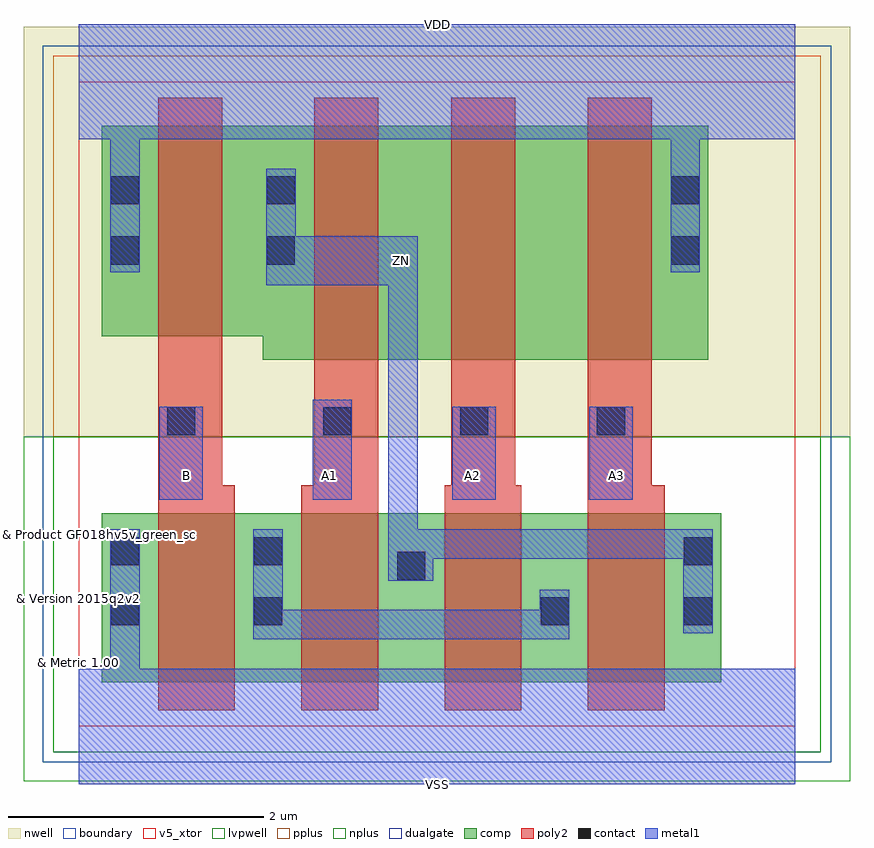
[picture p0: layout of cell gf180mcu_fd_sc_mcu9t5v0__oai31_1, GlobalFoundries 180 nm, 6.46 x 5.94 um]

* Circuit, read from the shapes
.subckt gf180mcu_fd_sc_mcu9t5v0__oai31_1 A1 A2 A3 B VDD VSS ZN
XM1 n1 B VSS VSUBS nfet_05v0 w=1.32u l=0.6u
XM2 ZN A1 n1 VSUBS nfet_05v0 w=1.32u l=0.6u
XM3 n1 A2 ZN VSUBS nfet_05v0 w=1.32u l=0.6u
XM4 ZN A3 n1 VSUBS nfet_05v0 w=1.32u l=0.6u
XM5 ZN B VDD n2 pfet_05v0 w=1.645u l=0.5u
XM6 n3 A1 ZN n2 pfet_05v0 w=1.83u l=0.5u
XM7 n4 A2 n3 n2 pfet_05v0 w=1.83u l=0.5u
XM8 VDD A3 n4 n2 pfet_05v0 w=1.83u l=0.5u
.ends

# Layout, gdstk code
import gdstk
lib = gdstk.Library(unit=1e-6, precision=1e-09)
def R(c, l, rs):  # rectangles x0, y0, x1, y1
    for r in rs: c.add(gdstk.rectangle(r[:2], r[2:], *l))
def A(c, l, x, y, w, h, nx, ny, dx, dy):  # array of equal rectangles
    R(c, l, [(x+i*dx, y+j*dy, x+i*dx+w, y+j*dy+h) for i in range(nx) for j in range(ny)])
def P(c, l, *ps):  # polygons
    for p in ps: c.add(gdstk.Polygon(p, *l))
boundary = (0, 0)
nwell = (21, 0)
comp = (22, 0)
poly2 = (30, 0)
pplus = (31, 0)
nplus = (32, 0)
contact = (33, 0)
metal1 = (34, 0)
dualgate = (55, 0)
v5_xtor = (112, 1)
lvpwell = (204, 0)

gf180mcu_fd_sc_mcu9t5v0_ = lib.new_cell('gf180mcu_fd_sc_mcu9t5v0__oai31_1')
R(gf180mcu_fd_sc_mcu9t5v0_, boundary, [(0,0,5.6,5.04)])
R(gf180mcu_fd_sc_mcu9t5v0_, nwell, [(-0.43,2.265,6.03,5.47)])
R(gf180mcu_fd_sc_mcu9t5v0_, comp, [(0.18,0.345,5.02,1.665)])
P(gf180mcu_fd_sc_mcu9t5v0_, comp, [(1.44,2.865),(1.44,3.05),(0.18,3.05),(0.18,4.695),(4.92,4.695),(4.92,2.865)])
P(gf180mcu_fd_sc_mcu9t5v0_, poly2, [(0.62,0.125),(0.62,4.915),(1.12,4.915),(1.12,1.885),(1.22,1.885),(1.22,0.125)],
  [(1.74,0.125),(1.74,1.885),(1.84,1.885),(1.84,4.915),(2.34,4.915),(2.34,0.125)],
  [(2.86,0.125),(2.86,1.885),(2.91,1.885),(2.91,4.915),(3.41,4.915),(3.41,1.885),(3.46,1.885),(3.46,0.125)],
  [(3.98,0.125),(3.98,4.915),(4.48,4.915),(4.48,1.885),(4.58,1.885),(4.58,0.125)])
R(gf180mcu_fd_sc_mcu9t5v0_, pplus, [(-0.2,2.265,5.8,5.24)])
R(gf180mcu_fd_sc_mcu9t5v0_, nplus, [(-0.2,-0.2,5.8,2.265)])
A(gf180mcu_fd_sc_mcu9t5v0_, contact, 1.91, 2.275, 0.22, 0.22, 3, 1, 1.07, 0)
R(gf180mcu_fd_sc_mcu9t5v0_, contact, [(0.25,0.79,0.47,1.01), (1.37,0.79,1.59,1.01), (3.61,0.79,3.83,1.01), (4.73,0.79,4.95,1.01), (2.49,1.145,2.71,1.365), (0.25,1.26,0.47,1.48), (1.37,1.26,1.59,1.48), (4.73,1.26,4.95,1.48), (0.69,2.275,0.91,2.495), (0.25,3.61,0.47,3.83), (1.47,3.61,1.69,3.83), (4.63,3.61,4.85,3.83), (0.25,4.08,0.47,4.3), (1.47,4.08,1.69,4.3), (4.63,4.08,4.85,4.3)])
R(gf180mcu_fd_sc_mcu9t5v0_, metal1, [(0.63,1.77,0.97,2.5), (1.83,1.77,2.135,2.555), (2.92,1.77,3.26,2.5), (3.99,1.77,4.33,2.5)])
P(gf180mcu_fd_sc_mcu9t5v0_, metal1, [(1.365,0.68),(1.365,1.54),(1.595,1.54),(1.595,0.91),(3.605,0.91),(3.605,1.07),(3.835,1.07),(3.835,0.68)],
  [(4.725,0.73),(4.725,1.31),(2.77,1.31),(2.77,1.14),(2.42,1.14),(2.42,3.45),(1.465,3.45),(1.465,4.36),(1.695,4.36),(1.695,3.83),(2.65,3.83),(2.65,1.54),(4.955,1.54),(4.955,0.73)],
  [(0,-0.45),(0,0.45),(0.245,0.45),(0.245,1.54),(0.475,1.54),(0.475,0.45),(5.6,0.45),(5.6,-0.45)],
  [(0.245,3.55),(0.245,4.59),(0,4.59),(0,5.49),(5.6,5.49),(5.6,4.59),(4.855,4.59),(4.855,3.55),(4.625,3.55),(4.625,4.59),(0.475,4.59),(0.475,3.55)])
R(gf180mcu_fd_sc_mcu9t5v0_, dualgate, [(-0.28,-0.28,5.88,5.32)])
R(gf180mcu_fd_sc_mcu9t5v0_, v5_xtor, [(0,0,5.6,5.04)])
R(gf180mcu_fd_sc_mcu9t5v0_, lvpwell, [(-0.43,-0.43,6.03,2.265)])
gf180mcu_fd_sc_mcu9t5v0_.add(gdstk.Label('A1', (1.96,1.96), layer=34, texttype=10))
gf180mcu_fd_sc_mcu9t5v0_.add(gdstk.Label('A2', (3.08,1.96), layer=34, texttype=10))
gf180mcu_fd_sc_mcu9t5v0_.add(gdstk.Label('A3', (4.2,1.96), layer=34, texttype=10))
gf180mcu_fd_sc_mcu9t5v0_.add(gdstk.Label('B', (0.84,1.96), layer=34, texttype=10))
gf180mcu_fd_sc_mcu9t5v0_.add(gdstk.Label('VDD', (2.8,5.49), layer=34, texttype=10))
gf180mcu_fd_sc_mcu9t5v0_.add(gdstk.Label('VSS', (2.8,-0.45), layer=34, texttype=10))
gf180mcu_fd_sc_mcu9t5v0_.add(gdstk.Label('ZN', (2.52,3.64), layer=34, texttype=10))
gf180mcu_fd_sc_mcu9t5v0_.add(gdstk.Label('& Vendor GLOBALFOUNDRIES', (0,2), layer=63, texttype=63))
gf180mcu_fd_sc_mcu9t5v0_.add(gdstk.Label('& Product GF018hv5v_green_sc9', (0,1.5), layer=63, texttype=63))
gf180mcu_fd_sc_mcu9t5v0_.add(gdstk.Label('& Version 2015q2v2', (0,1), layer=63, texttype=63))
gf180mcu_fd_sc_mcu9t5v0_.add(gdstk.Label('& Metric 1.00', (0,0.5), layer=63, texttype=63))

lib.write_gds('gf180mcu_fd_sc_mcu9t5v0__oai31_1.gds')
